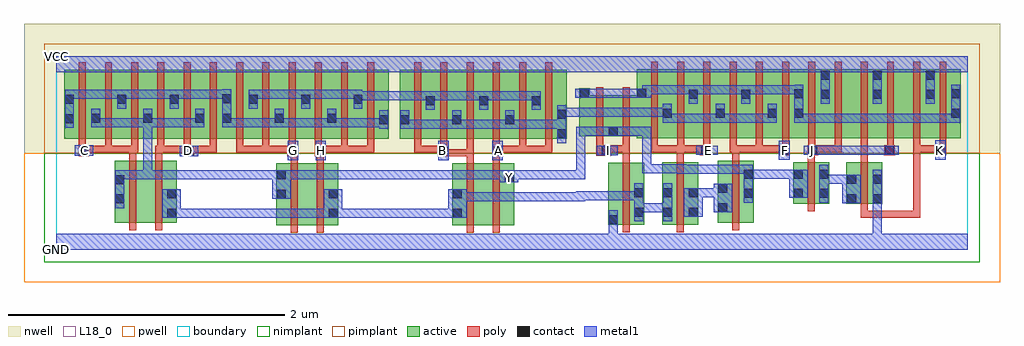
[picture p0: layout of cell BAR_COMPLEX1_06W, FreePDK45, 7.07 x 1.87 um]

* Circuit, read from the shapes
.subckt BAR_COMPLEX1_06W A B C D E F G GND H I J K VCC Y
M1 n1 C Y VSUBS nfet w=0.45u l=0.05u
M2 n2 D n1 VSUBS nfet w=0.45u l=0.05u
M3 n3 G Y VSUBS nfet w=0.45u l=0.05u
M4 n2 H n3 VSUBS nfet w=0.45u l=0.05u
M5 n4 B n2 VSUBS nfet w=0.45u l=0.05u
M6 Y A n4 VSUBS nfet w=0.45u l=0.05u
M7 n2 I GND VSUBS nfet w=0.45u l=0.05u
M8 n5 E n2 VSUBS nfet w=0.45u l=0.05u
M9 Y F n5 VSUBS nfet w=0.45u l=0.05u
M10 n6 J Y VSUBS nfet w=0.3u l=0.05u
M11 GND K n6 VSUBS nfet w=0.3u l=0.05u
M12 Y C n7 n8 pfet w=0.5u l=0.05u m=3
M13 n7 D Y n8 pfet w=0.5u l=0.05u m=3
M14 n9 G n7 n8 pfet w=0.5u l=0.05u m=3
M15 n7 H n9 n8 pfet w=0.5u l=0.05u m=3
M16 n9 B n10 n8 pfet w=0.5u l=0.05u m=3
M17 n10 A n9 n8 pfet w=0.5u l=0.05u m=3
M18 Y I n11 n8 pfet w=0.3u l=0.05u m=2
M19 n10 E n11 n8 pfet w=0.5u l=0.05u m=3
M20 n11 F n10 n8 pfet w=0.5u l=0.05u m=3
M21 VCC J n11 n8 pfet w=0.5u l=0.05u
M22 n12 J VCC n8 pfet w=0.5u l=0.05u
M23 VCC K n12 n8 pfet w=0.5u l=0.05u
M24 n13 J VCC n8 pfet w=0.5u l=0.05u
M25 VCC K n13 n8 pfet w=0.5u l=0.05u
M26 n11 K VCC n8 pfet w=0.5u l=0.05u
.ends

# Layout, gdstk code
import gdstk
lib = gdstk.Library(unit=1e-6, precision=1e-09)
def R(c, l, rs):  # rectangles x0, y0, x1, y1
    for r in rs: c.add(gdstk.rectangle(r[:2], r[2:], *l))
def A(c, l, x, y, w, h, nx, ny, dx, dy):  # array of equal rectangles
    R(c, l, [(x+i*dx, y+j*dy, x+i*dx+w, y+j*dy+h) for i in range(nx) for j in range(ny)])
active = (1, 0)
pwell = (2, 0)
nwell = (3, 0)
nimplant = (4, 0)
pimplant = (5, 0)
poly = (9, 0)
contact = (10, 0)
metal1 = (11, 0)
L18_0 = (18, 0)
boundary = (235, 0)

bar_complex1_06w = lib.new_cell('BAR_COMPLEX1_06W')
A(bar_complex1_06w, active, 1.197, 0.802, 0.265, 0.5, 5, 1, 0.19, 0)
R(bar_complex1_06w, active, [(1.592,0.177,1.817,0.627), (1.817,0.177,2.042,0.627), (2.867,0.177,3.092,0.627), (3.092,0.177,3.317,0.627), (3.997,0.18,4.257,0.63), (3.997,0.18,4.072,0.537), (4.39,0.182,4.65,0.632), (0.422,0.195,0.647,0.645), (0.422,0.195,0.527,0.645), (0.647,0.195,0.872,0.645), (0.797,0.195,0.872,0.645), (1.592,0.195,1.697,0.627), (1.967,0.195,2.042,0.627), (2.867,0.195,2.972,0.627), (3.242,0.195,3.317,0.627), (4.182,0.195,4.257,0.63), (4.39,0.195,4.465,0.632), (4.575,0.195,4.65,0.632), (4.79,0.195,4.865,0.645), (4.79,0.195,5.05,0.645), (4.975,0.195,5.05,0.645), (5.337,0.332,5.412,0.632), (5.337,0.332,5.597,0.632), (5.522,0.332,5.597,0.632), (5.722,0.332,5.797,0.632), (5.722,0.332,5.982,0.632), (5.907,0.332,5.982,0.632), (0.057,0.802,0.322,1.302), (0.057,0.802,0.132,1.2), (0.247,0.802,0.512,1.302), (0.247,0.802,0.322,1.07), (0.437,0.802,0.512,1.2), (0.437,0.802,0.7,1.302), (0.625,0.802,0.892,1.302), (0.625,0.802,0.7,1.07), (0.817,0.802,1.077,1.302), (1.002,0.802,1.272,1.302), (1.002,0.802,1.077,1.07), (1.197,0.802,1.272,1.2), (1.387,0.802,1.462,1.2), (1.577,0.802,1.652,1.07), (1.957,0.802,2.032,1.07), (2.147,0.802,2.407,1.302), (2.147,0.802,2.222,1.2), (2.332,0.802,2.407,1.07), (2.487,0.802,2.747,1.302), (2.487,0.802,2.562,1.07), (2.672,0.802,2.937,1.302), (2.862,0.802,3.132,1.302), (2.862,0.802,2.937,1.07), (3.057,0.802,3.322,1.302), (3.247,0.802,3.512,1.302), (3.437,0.802,3.697,1.302), (3.437,0.802,3.512,1.2), (3.622,0.802,3.697,1.2), (0.817,0.807,0.892,1.2), (1.767,0.807,1.842,1.2), (2.672,0.807,2.747,1.2), (3.057,0.807,3.132,1.2), (3.247,0.807,3.322,1.07), (4.202,0.807,4.462,1.307), (4.387,0.807,4.462,1.07), (4.387,0.807,4.652,1.307), (4.577,0.807,4.652,1.2), (4.577,0.807,4.847,1.307), (4.772,0.807,5.032,1.307), (4.772,0.807,4.847,1.07), (4.957,0.807,5.032,1.2), (4.957,0.807,5.222,1.307), (5.147,0.807,5.415,1.307), (5.147,0.807,5.222,1.07), (5.34,0.807,5.415,1.2), (5.34,0.807,5.607,1.307), (5.532,0.807,5.757,1.307), (5.532,0.807,5.607,1.302), (5.757,0.807,5.982,1.307), (5.907,0.807,5.982,1.307), (5.907,0.807,6.137,1.307), (6.137,0.807,6.367,1.307), (6.292,0.807,6.552,1.307), (6.292,0.807,6.367,1.307), (6.477,0.807,6.552,1.2), (3.787,0.82,4.07,1.12), (3.787,0.82,3.862,1.17), (3.995,0.82,4.277,1.12), (3.995,0.82,4.07,0.94), (4.202,0.865,4.277,1.2)])
R(bar_complex1_06w, pwell, [(-0.235,-0.235,6.835,0.7)])
R(bar_complex1_06w, nwell, [(-0.235,0.7,6.835,1.635)])
R(bar_complex1_06w, nimplant, [(-0.09,-0.09,6.69,0.7)])
R(bar_complex1_06w, pimplant, [(-0.09,0.7,6.69,1.49)])
A(bar_complex1_06w, poly, 0.162, 0.702, 0.05, 0.095, 12, 1, 0.19, 0)
A(bar_complex1_06w, poly, 1.112, 0.702, 0.05, 0.05, 3, 1, 0.19, 0)
A(bar_complex1_06w, poly, 3.162, 0.702, 0.05, 0.095, 3, 1, 0.19, 0)
A(bar_complex1_06w, poly, 4.307, 0.707, 0.05, 0.095, 12, 1, 0.19, 0)
A(bar_complex1_06w, poly, 0.162, 0.747, 0.05, 0.61, 12, 1, 0.19, 0)
A(bar_complex1_06w, poly, 2.592, 0.747, 0.05, 0.61, 6, 1, 0.19, 0)
A(bar_complex1_06w, poly, 4.307, 0.752, 0.05, 0.61, 12, 1, 0.19, 0)
R(bar_complex1_06w, poly, [(1.697,0.122,1.747,0.682), (1.887,0.122,1.937,0.682), (2.972,0.122,3.022,0.682), (3.162,0.122,3.212,0.682), (4.102,0.125,4.152,0.685), (4.495,0.127,4.545,0.687), (0.527,0.14,0.577,0.7), (0.717,0.14,0.767,0.7), (4.895,0.14,4.945,0.7), (5.827,0.232,5.877,0.327), (5.827,0.232,5.877,0.282), (5.827,0.232,6.01,0.282), (5.96,0.232,6.01,0.282), (5.96,0.232,6.01,0.282), (5.96,0.232,6.01,0.282), (5.96,0.232,6.257,0.282), (6.207,0.232,6.257,0.282), (6.207,0.232,6.257,0.282), (6.207,0.232,6.257,0.282), (6.207,0.232,6.257,0.282), (6.207,0.232,6.257,0.282), (6.207,0.232,6.257,0.282), (6.207,0.232,6.257,0.282), (6.207,0.232,6.257,0.757), (5.442,0.277,5.492,0.687), (5.827,0.277,5.877,0.687), (1.697,0.632,1.747,0.727), (1.887,0.632,1.937,0.727), (2.972,0.632,3.022,0.727), (3.162,0.632,3.212,0.727), (4.102,0.635,4.152,0.755), (4.495,0.637,4.545,0.757), (5.442,0.637,5.492,0.732), (5.827,0.637,5.877,0.757), (0.527,0.65,0.577,0.752), (0.717,0.65,0.767,0.752), (4.895,0.65,4.945,0.757), (0.162,0.677,0.237,0.752), (0.922,0.677,0.997,0.752), (1.672,0.677,1.747,0.752), (1.872,0.677,1.947,0.752), (2.762,0.677,2.837,0.752), (2.787,0.677,2.837,0.727), (2.787,0.677,2.837,0.727), (2.787,0.677,3.022,0.727), (2.972,0.677,3.022,0.727), (2.972,0.677,3.022,0.797), (3.162,0.677,3.237,0.752), (3.912,0.68,4.02,0.755), (4.665,0.682,4.74,0.757), (5.232,0.682,5.307,0.757), (5.442,0.682,5.517,0.757), (5.997,0.682,6.072,0.757), (6.372,0.682,6.447,0.757), (0.187,0.702,0.237,0.752), (0.187,0.702,0.237,0.752), (0.187,0.702,0.402,0.752), (0.352,0.702,0.402,0.752), (0.352,0.702,0.577,0.752), (0.527,0.702,0.577,0.752), (0.527,0.702,0.577,0.752), (0.527,0.702,0.592,0.752), (0.717,0.702,0.782,0.752), (0.732,0.702,0.972,0.752), (0.922,0.702,0.972,0.752), (0.922,0.702,0.972,0.752), (0.947,0.702,1.162,0.752), (1.112,0.702,1.162,0.752), (1.112,0.702,1.162,0.752), (1.302,0.702,1.542,0.752), (1.492,0.702,1.542,0.752), (1.492,0.702,1.542,0.752), (1.492,0.702,1.722,0.752), (1.672,0.702,1.722,0.752), (1.672,0.702,1.722,0.752), (1.897,0.702,1.947,0.752), (1.897,0.702,1.947,0.752), (1.897,0.702,2.112,0.752), (2.062,0.702,2.112,0.752), (2.062,0.702,2.112,0.752), (2.062,0.702,2.112,0.752), (2.062,0.702,2.302,0.752), (2.252,0.702,2.302,0.752), (2.592,0.702,2.642,0.797), (2.592,0.702,2.642,0.752), (2.592,0.702,2.642,0.752), (2.592,0.702,2.642,0.752), (2.592,0.702,2.812,0.752), (2.782,0.702,2.832,0.797), (3.187,0.702,3.402,0.752), (3.352,0.702,3.402,0.752), (3.352,0.702,3.402,0.752), (3.352,0.702,3.402,0.752), (3.352,0.702,3.592,0.752), (3.542,0.702,3.592,0.752), (3.542,0.702,3.592,0.752), (3.542,0.702,3.592,0.752), (3.912,0.705,3.962,0.815), (3.97,0.705,4.152,0.755), (4.102,0.705,4.152,0.755), (4.102,0.705,4.152,0.755), (4.102,0.705,4.152,0.755), (4.102,0.705,4.152,0.815), (4.307,0.707,4.357,0.757), (4.307,0.707,4.545,0.757), (4.495,0.707,4.545,0.757), (4.495,0.707,4.545,0.757), (4.495,0.707,4.547,0.757), (4.497,0.707,4.715,0.757), (4.665,0.707,4.715,0.757), (4.665,0.707,4.715,0.757), (4.877,0.707,4.945,0.757), (4.895,0.707,5.117,0.757), (5.067,0.707,5.117,0.757), (5.067,0.707,5.117,0.757), (5.067,0.707,5.117,0.757), (5.067,0.707,5.282,0.757), (5.232,0.707,5.282,0.757), (5.232,0.707,5.282,0.757), (5.467,0.707,5.687,0.757), (5.637,0.707,5.687,0.757), (5.637,0.707,5.687,0.757), (5.637,0.707,5.687,0.757), (5.827,0.707,5.877,0.757), (6.207,0.707,6.257,0.757), (6.207,0.707,6.257,0.757), (6.207,0.707,6.257,0.757), (6.207,0.707,6.422,0.757), (6.372,0.707,6.422,0.757), (6.372,0.707,6.422,0.757), (3.912,0.765,3.962,1.175), (4.102,0.765,4.152,1.175)])
A(bar_complex1_06w, contact, 1.202, 0.92, 0.065, 0.065, 3, 1, 0.38, 0)
A(bar_complex1_06w, contact, 0.062, 1.057, 0.065, 0.065, 3, 1, 0.38, 0)
A(bar_complex1_06w, contact, 1.392, 1.057, 0.065, 0.065, 3, 1, 0.38, 0)
R(bar_complex1_06w, contact, [(4.002,0.185,4.067,0.25), (0.802,0.232,0.867,0.297), (1.972,0.232,2.037,0.297), (2.872,0.232,2.937,0.297), (4.187,0.24,4.252,0.305), (4.395,0.24,4.46,0.305), (4.58,0.24,4.645,0.305), (4.795,0.272,4.86,0.337), (0.427,0.335,0.492,0.4), (5.727,0.337,5.792,0.402), (5.912,0.337,5.977,0.402), (1.597,0.37,1.662,0.435), (0.802,0.372,0.867,0.437), (1.972,0.372,2.037,0.437), (2.872,0.372,2.937,0.437), (4.98,0.375,5.045,0.44), (5.342,0.375,5.407,0.44), (5.527,0.375,5.592,0.44), (4.187,0.38,4.252,0.445), (4.395,0.38,4.46,0.445), (4.58,0.38,4.645,0.445), (4.795,0.412,4.86,0.477), (0.427,0.475,0.492,0.54), (5.727,0.477,5.792,0.542), (5.912,0.477,5.977,0.542), (3.247,0.487,3.312,0.552), (1.597,0.51,1.662,0.575), (4.98,0.515,5.045,0.58), (5.342,0.515,5.407,0.58), (5.527,0.515,5.592,0.58), (0.167,0.682,0.232,0.747), (0.927,0.682,0.992,0.747), (1.677,0.682,1.742,0.747), (1.877,0.682,1.942,0.747), (2.767,0.682,2.832,0.747), (3.167,0.682,3.232,0.747), (3.95,0.685,4.015,0.75), (4.67,0.687,4.735,0.752), (5.237,0.687,5.302,0.752), (5.447,0.687,5.512,0.752), (6.002,0.687,6.067,0.752), (6.377,0.687,6.442,0.752), (3.627,0.807,3.692,0.872), (4,0.825,4.065,0.89), (2.337,0.91,2.402,0.975), (2.492,0.91,2.557,0.975), (2.867,0.91,2.932,0.975), (3.252,0.91,3.317,0.975), (0.062,0.917,0.127,0.982), (0.252,0.92,0.317,0.985), (0.63,0.92,0.695,0.985), (1.007,0.92,1.072,0.985), (3.627,0.947,3.692,1.012), (4.392,0.955,4.457,1.02), (4.777,0.955,4.842,1.02), (5.152,0.955,5.217,1.02), (5.345,0.955,5.41,1.02), (6.482,0.955,6.547,1.02), (2.677,1.047,2.742,1.112), (3.062,1.047,3.127,1.112), (3.442,1.047,3.507,1.112), (1.202,1.06,1.267,1.125), (4.582,1.092,4.647,1.157), (4.962,1.092,5.027,1.157), (5.537,1.092,5.602,1.157), (5.912,1.092,5.977,1.157), (6.297,1.092,6.362,1.157), (5.345,1.095,5.41,1.16), (6.482,1.095,6.547,1.16), (3.792,1.1,3.857,1.165), (4.207,1.1,4.272,1.165), (5.537,1.232,5.602,1.297), (5.912,1.232,5.977,1.297), (6.297,1.232,6.362,1.297)])
A(bar_complex1_06w, metal1, 1.392, 1.022, 0.065, 0.135, 3, 1, 0.38, 0)
R(bar_complex1_06w, metal1, [(0,0,6.6,0.115), (4.002,0.05,4.067,0.115), (4.002,0.05,4.067,0.115), (4.002,0.05,4.067,0.215), (5.912,0.05,5.977,0.115), (5.912,0.05,5.977,0.115), (5.912,0.05,5.977,0.115), (5.912,0.05,5.977,0.115), (5.912,0.05,5.977,0.367), (4.002,0.15,4.067,0.285), (4.187,0.205,4.252,0.48), (4.395,0.205,4.46,0.48), (0.767,0.232,0.902,0.437), (0.837,0.232,0.902,0.297), (0.837,0.232,0.902,0.297), (0.837,0.232,1.04,0.297), (0.975,0.232,1.04,0.297), (0.975,0.232,1.04,0.297), (0.975,0.232,1.04,0.297), (0.975,0.232,1.267,0.297), (1.202,0.232,1.267,0.297), (1.202,0.232,1.267,0.297), (1.202,0.232,1.267,0.297), (1.202,0.232,1.457,0.297), (1.392,0.232,1.457,0.297), (1.392,0.232,1.457,0.297), (1.392,0.232,1.457,0.297), (1.392,0.232,1.595,0.297), (1.53,0.232,1.595,0.297), (1.53,0.232,1.595,0.297), (1.53,0.232,1.595,0.297), (1.53,0.232,1.865,0.297), (1.8,0.232,1.865,0.297), (1.8,0.232,1.865,0.297), (1.8,0.232,1.865,0.297), (1.8,0.232,2.002,0.297), (1.937,0.232,2.072,0.437), (2.007,0.232,2.072,0.297), (2.007,0.232,2.072,0.297), (2.007,0.232,2.21,0.297), (2.145,0.232,2.21,0.297), (2.145,0.232,2.21,0.297), (2.145,0.232,2.21,0.297), (2.145,0.232,2.402,0.297), (2.337,0.232,2.402,0.297), (2.337,0.232,2.402,0.297), (2.337,0.232,2.402,0.297), (2.337,0.232,2.695,0.297), (2.63,0.232,2.695,0.297), (2.63,0.232,2.695,0.297), (2.63,0.232,2.695,0.297), (2.63,0.232,2.902,0.297), (2.837,0.232,2.902,0.297), (2.837,0.232,2.902,0.297), (2.837,0.232,2.972,0.437), (4.545,0.24,4.68,0.445), (4.187,0.272,4.307,0.337), (4.242,0.272,4.307,0.337), (4.242,0.272,4.46,0.337), (4.76,0.272,4.895,0.477), (0.427,0.3,0.492,0.575), (5.912,0.302,5.977,0.577), (5.692,0.337,5.827,0.542), (4.98,0.34,5.045,0.615), (5.527,0.34,5.592,0.615), (2.907,0.35,3.085,0.415), (3.02,0.35,3.085,0.415), (3.02,0.35,3.14,0.415), (3.075,0.35,3.14,0.415), (3.075,0.35,3.232,0.415), (3.167,0.35,3.232,0.415), (3.167,0.35,3.37,0.415), (3.305,0.35,3.37,0.415), (3.305,0.35,3.37,0.415), (3.305,0.35,3.37,0.415), (3.305,0.35,3.555,0.415), (3.49,0.35,3.555,0.415), (3.49,0.35,3.555,0.415), (3.49,0.35,3.555,0.415), (3.49,0.35,3.83,0.415), (3.765,0.35,3.83,0.415), (3.765,0.35,3.83,0.415), (3.765,0.35,3.83,0.422), (3.765,0.357,3.967,0.422), (3.902,0.357,3.967,0.422), (3.902,0.357,4.03,0.422), (3.965,0.357,4.03,0.422), (3.965,0.357,4.17,0.422), (4.105,0.357,4.17,0.422), (4.105,0.357,4.252,0.422), (1.562,0.37,1.697,0.575), (5.307,0.375,5.442,0.58), (4.615,0.38,4.7,0.445), (4.635,0.38,4.7,0.445), (4.635,0.38,4.825,0.445), (5.527,0.477,5.757,0.542), (5.692,0.477,5.757,0.542), (5.692,0.477,5.757,0.542), (3.212,0.487,3.347,0.552), (3.282,0.487,3.347,0.575), (0.427,0.51,0.492,0.575), (0.427,0.51,0.492,0.575), (0.427,0.51,0.695,0.575), (0.63,0.51,0.695,0.575), (0.63,0.51,0.695,0.575), (0.63,0.51,0.695,0.575), (0.63,0.51,0.695,0.575), (0.63,0.51,0.695,0.575), (0.63,0.51,0.902,0.575), (0.63,0.51,0.695,0.95), (0.837,0.51,0.902,0.575), (0.837,0.51,0.902,0.575), (0.837,0.51,0.902,0.575), (0.837,0.51,1.04,0.575), (0.975,0.51,1.04,0.575), (0.975,0.51,1.04,0.575), (0.975,0.51,1.04,0.575), (0.975,0.51,1.267,0.575), (1.202,0.51,1.267,0.575), (1.202,0.51,1.267,0.575), (1.202,0.51,1.267,0.575), (1.202,0.51,1.457,0.575), (1.392,0.51,1.457,0.575), (1.392,0.51,1.457,0.575), (1.392,0.51,1.457,0.575), (1.392,0.51,1.627,0.575), (1.632,0.51,1.697,0.575), (1.632,0.51,1.697,0.575), (1.632,0.51,1.835,0.575), (1.77,0.51,1.835,0.575), (1.77,0.51,1.835,0.575), (1.77,0.51,1.835,0.575), (1.77,0.51,2.072,0.575), (2.007,0.51,2.072,0.575), (2.007,0.51,2.072,0.575), (2.007,0.51,2.072,0.575), (2.007,0.51,2.21,0.575), (2.145,0.51,2.21,0.575), (2.145,0.51,2.21,0.575), (2.145,0.51,2.21,0.575), (2.145,0.51,2.402,0.575), (2.337,0.51,2.402,0.575), (2.337,0.51,2.402,0.575), (2.337,0.51,2.402,0.575), (2.337,0.51,2.695,0.575), (2.63,0.51,2.695,0.575), (2.63,0.51,2.695,0.575), (2.63,0.51,2.695,0.575), (2.63,0.51,2.88,0.575), (2.815,0.51,2.88,0.575), (2.815,0.51,2.88,0.575), (2.815,0.51,2.88,0.575), (2.815,0.51,3.085,0.575), (3.02,0.51,3.085,0.575), (3.02,0.51,3.14,0.575), (3.075,0.51,3.14,0.575), (3.075,0.51,3.232,0.575), (3.167,0.51,3.232,0.575), (3.167,0.51,3.347,0.575), (3.282,0.51,3.37,0.575), (3.305,0.51,3.37,0.575), (3.305,0.51,3.37,0.575), (3.305,0.51,3.37,0.575), (3.305,0.51,3.37,0.575), (3.305,0.51,3.555,0.575), (3.49,0.51,3.555,0.575), (3.49,0.51,3.555,0.575), (3.49,0.51,3.555,0.575), (3.49,0.51,3.83,0.575), (3.765,0.51,3.83,0.575), (3.765,0.51,3.83,0.575), (3.765,0.51,3.83,0.575), (3.765,0.51,3.83,0.89), (4.98,0.515,5.045,0.58), (4.98,0.515,5.045,0.58), (4.98,0.515,5.217,0.58), (5.152,0.515,5.217,0.58), (5.152,0.515,5.217,0.58), (5.152,0.515,5.217,0.58), (5.152,0.515,5.372,0.58), (4.497,0.55,4.61,0.615), (4.497,0.55,4.562,0.617), (4.545,0.55,4.61,0.615), (4.545,0.55,4.7,0.615), (4.635,0.55,4.7,0.615), (4.635,0.55,4.89,0.615), (4.825,0.55,4.89,0.615), (4.825,0.55,4.89,0.615), (4.825,0.55,4.89,0.615), (4.825,0.55,5.045,0.615), (4.242,0.552,4.307,0.617), (4.242,0.552,4.307,0.617), (4.242,0.552,4.307,0.617), (4.242,0.552,4.46,0.617), (4.242,0.552,4.307,0.89), (4.395,0.552,4.46,0.617), (4.395,0.552,4.562,0.617), (1.677,0.647,1.752,0.787), (1.877,0.647,1.952,0.787), (2.767,0.647,2.842,0.787), (3.157,0.647,3.232,0.787), (5.232,0.652,5.312,0.787), (6.367,0.652,6.442,0.792), (0.892,0.675,1.027,0.752), (0.132,0.68,0.267,0.757), (3.915,0.685,4.067,0.752), (4.635,0.687,4.79,0.752), (5.412,0.687,5.547,0.752), (5.482,0.687,5.547,0.752), (5.482,0.687,5.547,0.752), (5.482,0.687,5.73,0.752), (5.665,0.687,5.73,0.752), (5.665,0.687,5.73,0.752), (5.665,0.687,5.73,0.752), (5.665,0.687,5.895,0.752), (5.83,0.687,5.895,0.752), (5.83,0.687,5.895,0.752), (5.83,0.687,5.895,0.752), (5.83,0.687,6.032,0.752), (5.967,0.687,6.102,0.752), (3.627,0.772,3.692,1.047), (3.765,0.825,3.83,0.89), (3.765,0.825,4.03,0.89), (3.965,0.825,4.03,0.89), (3.965,0.825,4.03,0.89), (3.965,0.825,4.1,0.89), (4.035,0.825,4.17,0.89), (4.105,0.825,4.17,0.89), (4.105,0.825,4.307,0.89), (4.242,0.825,4.307,0.89), (4.242,0.825,4.307,0.89), (4.242,0.825,4.307,0.89), (2.337,0.875,2.402,1.01), (2.492,0.875,2.557,0.94), (2.492,0.875,2.557,0.94), (2.492,0.875,2.695,0.94), (2.492,0.875,2.557,1.01), (2.63,0.875,2.695,0.94), (2.63,0.875,2.932,0.94), (2.867,0.875,2.932,0.94), (2.867,0.875,2.932,0.94), (2.867,0.875,2.932,1.01), (2.867,0.875,3.085,0.94), (3.02,0.875,3.085,0.94), (3.02,0.875,3.14,0.94), (3.075,0.875,3.14,0.94), (3.075,0.875,3.232,0.94), (3.167,0.875,3.232,0.94), (3.167,0.875,3.317,0.94), (3.252,0.875,3.317,1.01), (3.252,0.875,3.37,0.94), (3.305,0.875,3.37,0.94), (3.305,0.875,3.507,0.94), (3.442,0.875,3.507,0.94), (3.442,0.875,3.507,0.94), (3.442,0.875,3.507,0.94), (3.442,0.875,3.692,0.94), (0.062,0.882,0.127,1.157), (0.252,0.885,0.317,0.95), (0.252,0.885,0.317,0.95), (0.252,0.885,0.492,0.95), (0.252,0.885,0.317,1.02), (0.427,0.885,0.492,0.95), (0.427,0.885,0.492,0.95), (0.427,0.885,0.492,0.95), (0.427,0.885,0.695,0.95), (0.63,0.885,0.695,0.95), (0.63,0.885,0.695,0.95), (0.63,0.885,0.832,0.95), (0.63,0.885,0.695,1.02), (0.767,0.885,0.832,0.95), (0.767,0.885,0.832,0.95), (0.767,0.885,0.832,0.95), (0.767,0.885,1.072,0.95), (1.007,0.885,1.072,1.02), (1.202,0.885,1.267,0.95), (1.202,0.885,1.267,0.95), (1.202,0.885,1.267,0.95), (1.202,0.885,1.267,0.95), (1.202,0.885,1.267,1.16), (1.202,0.885,1.405,0.95), (1.34,0.885,1.405,0.95), (1.34,0.885,1.405,0.95), (1.34,0.885,1.405,0.95), (1.34,0.885,1.647,0.95), (1.582,0.885,1.647,0.95), (1.582,0.885,1.647,0.95), (1.582,0.885,1.647,1.02), (1.582,0.885,1.865,0.95), (1.8,0.885,1.865,0.95), (1.8,0.885,1.865,0.95), (1.8,0.885,1.865,0.95), (1.8,0.885,2.027,0.95), (1.962,0.885,2.027,0.95), (1.962,0.885,2.027,0.95), (1.962,0.885,2.027,1.02), (1.962,0.885,2.265,0.95), (2.2,0.885,2.265,0.95), (2.2,0.885,2.265,0.95), (2.2,0.885,2.265,0.95), (2.2,0.885,2.402,0.95), (4.392,0.92,4.457,0.985), (4.392,0.92,4.457,0.985), (4.392,0.92,4.457,0.985), (4.392,0.92,4.457,0.985), (4.392,0.92,4.457,1.055), (4.392,0.92,4.61,0.985), (4.545,0.92,4.61,0.985), (4.545,0.92,4.7,0.985), (4.635,0.92,4.7,0.985), (4.635,0.92,4.842,0.985), (4.777,0.92,4.842,0.985), (4.777,0.92,4.842,0.985), (4.777,0.92,4.842,1.055), (4.777,0.92,5.08,0.985), (5.015,0.92,5.08,0.985), (5.015,0.92,5.08,0.985), (5.015,0.92,5.08,0.985), (5.015,0.92,5.217,0.985), (5.152,0.92,5.217,1.055), (5.345,0.92,5.41,0.985), (5.345,0.92,5.41,0.985), (5.345,0.92,5.41,0.985), (5.345,0.92,5.41,0.985), (5.345,0.92,5.41,0.985), (5.345,0.92,5.41,0.985), (5.345,0.92,5.41,1.195), (5.345,0.92,5.592,0.985), (5.527,0.92,5.592,0.985), (5.527,0.92,5.757,0.985), (5.692,0.92,5.757,0.985), (5.692,0.92,5.757,0.985), (5.692,0.92,5.757,0.985), (5.692,0.92,5.895,0.985), (5.83,0.92,5.895,0.985), (5.83,0.92,5.895,0.985), (5.83,0.92,5.895,0.985), (5.83,0.92,6.157,0.985), (6.092,0.92,6.157,0.985), (6.092,0.92,6.157,0.985), (6.092,0.92,6.157,0.985), (6.092,0.92,6.295,0.985), (6.23,0.92,6.295,0.985), (6.23,0.92,6.295,0.985), (6.23,0.92,6.295,0.985), (6.23,0.92,6.547,0.985), (6.482,0.92,6.547,0.985), (6.482,0.92,6.547,0.985), (6.482,0.92,6.547,1.195), (3.627,0.962,3.692,1.027), (3.627,0.962,3.692,1.027), (3.627,0.962,3.692,1.027), (3.627,0.962,4.03,1.027), (3.627,0.962,3.692,1.047), (3.965,0.962,4.03,1.027), (3.965,0.962,4.03,1.027), (3.965,0.962,4.03,1.027), (3.965,0.962,4.17,1.027), (4.105,0.962,4.17,1.027), (4.105,0.962,4.307,1.027), (4.242,0.962,4.307,1.027), (4.242,0.962,4.307,1.027), (4.242,0.962,4.307,1.027), (4.242,0.962,4.457,1.027), (2.677,1.012,2.742,1.147), (3.062,1.012,3.127,1.147), (3.442,1.012,3.507,1.147), (0.442,1.022,0.507,1.157), (0.822,1.022,0.887,1.157), (4.582,1.057,4.647,1.192), (4.962,1.057,5.027,1.192), (5.537,1.057,5.602,1.332), (5.912,1.057,5.977,1.332), (6.297,1.057,6.362,1.332), (2.152,1.082,2.217,1.147), (2.152,1.082,2.217,1.147), (2.152,1.082,2.402,1.147), (2.337,1.082,2.402,1.147), (2.337,1.082,2.402,1.147), (2.337,1.082,2.402,1.147), (2.337,1.082,2.54,1.147), (2.475,1.082,2.54,1.147), (2.475,1.082,2.742,1.147), (2.677,1.082,2.88,1.147), (2.815,1.082,2.88,1.147), (2.815,1.082,2.88,1.147), (2.815,1.082,2.88,1.147), (2.815,1.082,3.085,1.147), (3.02,1.082,3.085,1.147), (3.02,1.082,3.127,1.147), (3.062,1.082,3.232,1.147), (3.167,1.082,3.232,1.147), (3.167,1.082,3.37,1.147), (3.305,1.082,3.37,1.147), (3.305,1.082,3.37,1.147), (3.305,1.082,3.37,1.147), (3.305,1.082,3.507,1.147), (0.062,1.092,0.127,1.157), (0.062,1.092,0.127,1.157), (0.062,1.092,0.355,1.157), (0.29,1.092,0.355,1.157), (0.29,1.092,0.355,1.157), (0.29,1.092,0.355,1.157), (0.29,1.092,0.507,1.157), (0.442,1.092,0.507,1.157), (0.442,1.092,0.507,1.157), (0.442,1.092,0.695,1.157), (0.63,1.092,0.695,1.157), (0.63,1.092,0.695,1.157), (0.63,1.092,0.695,1.157), (0.63,1.092,0.887,1.157), (0.822,1.092,0.887,1.157), (0.822,1.092,0.887,1.157), (0.822,1.092,1.04,1.157), (0.975,1.092,1.04,1.157), (0.975,1.092,1.04,1.157), (0.975,1.092,1.04,1.157), (0.975,1.092,1.267,1.157), (1.392,1.092,1.457,1.157), (1.392,1.092,1.457,1.157), (1.392,1.092,1.595,1.157), (1.53,1.092,1.595,1.157), (1.53,1.092,1.595,1.157), (1.53,1.092,1.595,1.157), (1.53,1.092,1.837,1.157), (1.772,1.092,1.837,1.157), (1.772,1.092,1.837,1.157), (1.772,1.092,2.072,1.157), (2.007,1.092,2.072,1.157), (2.007,1.092,2.072,1.157), (2.007,1.092,2.072,1.157), (2.007,1.092,2.217,1.157), (3.757,1.1,3.892,1.165), (3.827,1.1,4.03,1.165), (3.965,1.1,4.03,1.165), (3.965,1.1,4.03,1.165), (3.965,1.1,4.03,1.165), (3.965,1.1,4.17,1.165), (4.105,1.1,4.17,1.165), (4.105,1.1,4.237,1.165), (4.172,1.1,4.307,1.165), (4.242,1.1,4.307,1.165), (4.242,1.1,4.307,1.192), (4.242,1.127,4.472,1.192), (4.407,1.127,4.472,1.192), (4.407,1.127,4.472,1.192), (4.407,1.127,4.472,1.192), (4.407,1.127,4.647,1.192), (4.582,1.127,4.7,1.192), (4.635,1.127,4.7,1.192), (4.635,1.127,4.89,1.192), (4.825,1.127,4.89,1.192), (4.825,1.127,4.89,1.192), (4.825,1.127,4.89,1.192), (4.825,1.127,5.027,1.192), (4.962,1.127,5.027,1.192), (4.962,1.127,5.027,1.192), (4.962,1.127,5.235,1.192), (5.17,1.127,5.235,1.192), (5.17,1.127,5.235,1.192), (5.17,1.127,5.235,1.192), (5.17,1.127,5.41,1.192), (5.537,1.267,5.602,1.35), (5.912,1.267,5.977,1.35), (6.297,1.267,6.362,1.35), (0,1.285,6.6,1.4)])
A(bar_complex1_06w, L18_0, 0.167, 0.687, 0.065, 0.065, 3, 1, 0.76, 0)
R(bar_complex1_06w, L18_0, [(0,0,6.6,0.115), (4.002,0.05,4.067,0.115), (4.002,0.05,4.067,0.115), (4.002,0.05,4.067,0.215), (5.912,0.05,5.977,0.115), (5.912,0.05,5.977,0.115), (5.912,0.05,5.977,0.115), (5.912,0.05,5.977,0.115), (5.912,0.05,5.977,0.367), (4.002,0.15,4.067,0.285), (0.427,0.3,0.492,0.575), (5.912,0.302,5.977,0.577), (4.98,0.34,5.045,0.615), (1.562,0.37,1.697,0.575), (5.307,0.375,5.442,0.58), (3.212,0.487,3.347,0.552), (3.247,0.487,3.312,0.552), (3.282,0.487,3.347,0.575), (0.427,0.51,0.492,0.575), (0.427,0.51,0.492,0.575), (0.427,0.51,0.695,0.575), (0.63,0.51,0.695,0.575), (0.63,0.51,0.695,0.575), (0.63,0.51,0.695,0.575), (0.63,0.51,0.695,0.575), (0.63,0.51,0.695,0.575), (0.63,0.51,0.695,0.95), (0.63,0.51,0.902,0.575), (0.837,0.51,0.902,0.575), (0.837,0.51,0.902,0.575), (0.837,0.51,0.902,0.575), (0.837,0.51,1.04,0.575), (0.975,0.51,1.04,0.575), (0.975,0.51,1.04,0.575), (0.975,0.51,1.04,0.575), (0.975,0.51,1.267,0.575), (1.202,0.51,1.267,0.575), (1.202,0.51,1.267,0.575), (1.202,0.51,1.267,0.575), (1.202,0.51,1.457,0.575), (1.392,0.51,1.457,0.575), (1.392,0.51,1.457,0.575), (1.392,0.51,1.457,0.575), (1.392,0.51,1.627,0.575), (1.632,0.51,1.697,0.575), (1.632,0.51,1.697,0.575), (1.632,0.51,1.835,0.575), (1.77,0.51,1.835,0.575), (1.77,0.51,1.835,0.575), (1.77,0.51,1.835,0.575), (1.77,0.51,2.072,0.575), (2.007,0.51,2.072,0.575), (2.007,0.51,2.072,0.575), (2.007,0.51,2.072,0.575), (2.007,0.51,2.21,0.575), (2.145,0.51,2.21,0.575), (2.145,0.51,2.21,0.575), (2.145,0.51,2.21,0.575), (2.145,0.51,2.402,0.575), (2.337,0.51,2.402,0.575), (2.337,0.51,2.402,0.575), (2.337,0.51,2.402,0.575), (2.337,0.51,2.695,0.575), (2.63,0.51,2.695,0.575), (2.63,0.51,2.695,0.575), (2.63,0.51,2.695,0.575), (2.63,0.51,2.88,0.575), (2.815,0.51,2.88,0.575), (2.815,0.51,2.88,0.575), (2.815,0.51,2.88,0.575), (2.815,0.51,3.085,0.575), (3.02,0.51,3.085,0.575), (3.02,0.51,3.14,0.575), (3.075,0.51,3.14,0.575), (3.075,0.51,3.232,0.575), (3.167,0.51,3.232,0.575), (3.167,0.51,3.347,0.575), (3.282,0.51,3.37,0.575), (3.305,0.51,3.37,0.575), (3.305,0.51,3.37,0.575), (3.305,0.51,3.37,0.575), (3.305,0.51,3.37,0.575), (3.305,0.51,3.555,0.575), (3.49,0.51,3.555,0.575), (3.49,0.51,3.555,0.575), (3.49,0.51,3.555,0.575), (3.49,0.51,3.83,0.575), (3.765,0.51,3.83,0.575), (3.765,0.51,3.83,0.575), (3.765,0.51,3.83,0.575), (3.765,0.51,3.83,0.89), (4.98,0.515,5.045,0.58), (4.98,0.515,5.045,0.58), (4.98,0.515,5.217,0.58), (5.152,0.515,5.217,0.58), (5.152,0.515,5.217,0.58), (5.152,0.515,5.217,0.58), (5.152,0.515,5.372,0.58), (4.497,0.55,4.562,0.617), (4.497,0.55,4.61,0.615), (4.545,0.55,4.61,0.615), (4.545,0.55,4.7,0.615), (4.635,0.55,4.7,0.615), (4.635,0.55,4.89,0.615), (4.825,0.55,4.89,0.615), (4.825,0.55,4.89,0.615), (4.825,0.55,4.89,0.615), (4.825,0.55,5.045,0.615), (4.242,0.552,4.307,0.617), (4.242,0.552,4.307,0.617), (4.242,0.552,4.307,0.617), (4.242,0.552,4.307,0.89), (4.242,0.552,4.46,0.617), (4.395,0.552,4.46,0.617), (4.395,0.552,4.562,0.617), (1.677,0.647,1.752,0.787), (1.877,0.647,1.952,0.787), (2.767,0.647,2.842,0.787), (3.157,0.647,3.232,0.787), (5.232,0.652,5.312,0.787), (6.367,0.652,6.442,0.792), (0.892,0.675,1.027,0.752), (0.132,0.68,0.267,0.757), (3.915,0.685,4.067,0.752), (1.887,0.687,1.952,0.752), (2.767,0.687,2.832,0.752), (3.167,0.687,3.232,0.752), (3.967,0.687,4.032,0.752), (4.635,0.687,4.79,0.752), (4.687,0.687,4.752,0.752), (5.247,0.687,5.312,0.752), (5.412,0.687,5.547,0.752), (5.447,0.687,5.512,0.752), (5.482,0.687,5.547,0.752), (5.482,0.687,5.547,0.752), (5.482,0.687,5.73,0.752), (5.665,0.687,5.73,0.752), (5.665,0.687,5.73,0.752), (5.665,0.687,5.73,0.752), (5.665,0.687,5.895,0.752), (5.83,0.687,5.895,0.752), (5.83,0.687,5.895,0.752), (5.83,0.687,5.895,0.752), (5.83,0.687,6.032,0.752), (5.967,0.687,6.102,0.752), (6.367,0.687,6.432,0.752), (3.765,0.825,3.83,0.89), (3.765,0.825,4.03,0.89), (3.965,0.825,4.03,0.89), (3.965,0.825,4.03,0.89), (3.965,0.825,4.1,0.89), (4.035,0.825,4.17,0.89), (4.105,0.825,4.17,0.89), (4.105,0.825,4.307,0.89), (4.242,0.825,4.307,0.89), (4.242,0.825,4.307,0.89), (4.242,0.825,4.307,0.89), (0.252,0.885,0.317,1.02), (0.252,0.885,0.317,0.95), (0.252,0.885,0.317,0.95), (0.252,0.885,0.492,0.95), (0.427,0.885,0.492,0.95), (0.427,0.885,0.492,0.95), (0.427,0.885,0.492,0.95), (0.427,0.885,0.695,0.95), (0.63,0.885,0.695,1.02), (0.63,0.885,0.695,0.95), (0.63,0.885,0.695,0.95), (0.63,0.885,0.832,0.95), (0.767,0.885,0.832,0.95), (0.767,0.885,0.832,0.95), (0.767,0.885,0.832,0.95), (0.767,0.885,1.072,0.95), (1.007,0.885,1.072,1.02), (5.537,1.057,5.602,1.332), (5.912,1.057,5.977,1.332), (6.297,1.057,6.362,1.332), (5.537,1.267,5.602,1.35), (5.912,1.267,5.977,1.35), (6.297,1.267,6.362,1.35), (0,1.285,6.6,1.4)])
R(bar_complex1_06w, boundary, [(0,0,6.6,1.4)])
bar_complex1_06w.add(gdstk.Label('A', (3.2,0.72), layer=11, texttype=0))
bar_complex1_06w.add(gdstk.Label('B', (2.8,0.72), layer=11, texttype=0))
bar_complex1_06w.add(gdstk.Label('C', (0.2,0.72), layer=11, texttype=0))
bar_complex1_06w.add(gdstk.Label('D', (0.96,0.72), layer=11, texttype=0))
bar_complex1_06w.add(gdstk.Label('E', (4.72,0.72), layer=11, texttype=0))
bar_complex1_06w.add(gdstk.Label('F', (5.28,0.72), layer=11, texttype=0))
bar_complex1_06w.add(gdstk.Label('G', (1.72,0.72), layer=11, texttype=0))
bar_complex1_06w.add(gdstk.Label('H', (1.92,0.72), layer=11, texttype=0))
bar_complex1_06w.add(gdstk.Label('I', (4,0.72), layer=11, texttype=0))
bar_complex1_06w.add(gdstk.Label('J', (5.48,0.72), layer=11, texttype=0))
bar_complex1_06w.add(gdstk.Label('K', (6.4,0.72), layer=11, texttype=0))
bar_complex1_06w.add(gdstk.Label('Y', (3.28,0.52), layer=11, texttype=0))
bar_complex1_06w.add(gdstk.Label('VCC', (0,1.4), layer=11, texttype=0))
bar_complex1_06w.add(gdstk.Label('GND', (0,0), layer=11, texttype=0))

lib.write_gds('BAR_COMPLEX1_06W.gds')
